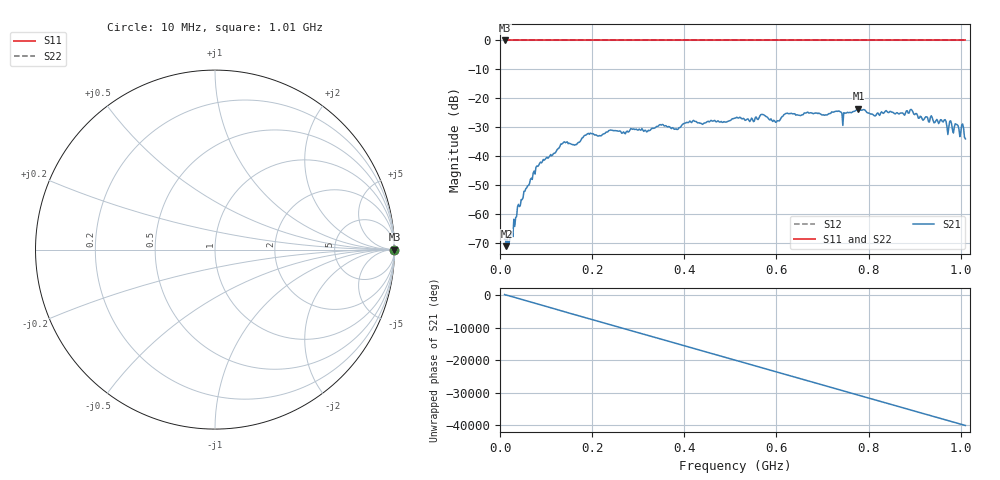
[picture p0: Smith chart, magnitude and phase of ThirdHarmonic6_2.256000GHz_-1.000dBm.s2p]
! 8/17/2025 2:45:05 AM
! C:\ANRITSUVNA\TEMP\TEMP.S2P
! CHANNEL.1
! TR.MEASUREMENT
! RAW.DATA
! RF.CORRECTION.OFF
! AVERAGING.OFF
! IF.BANDWIDTH: 5KHZ
! SWEEPTYPE:  FREQ.SWEEP(Linear)
! Reference Plane Port Info
! PORT:  PORT1  PORT2
! DISTANCE:  0  m  0  m
! TIME:  0  s  0  s
! PHASE.OFFSET:  0  deg.  0  deg.
! LOSS:  0  dB  0  dB
! REF.LOSS:  0  dB  0  dB
! REF.FREQ:  0  Hz  0  Hz
! Power Info
! POWER:  -20  dBm  -20  dBm
! EFF.POWER:  -20  dBm  -20  dBm
! SOURCE.ATTEN:  0  dB  0  dB
! TEST.ATTEN:  0  dB  0  dB
# GHZ S RI R 50.0
! FREQ.GHZ  S11RE  S11IM  S21RE  S21IM  S12RE  S12IM  S22RE  S22IM
!; PortSelection: Port_12
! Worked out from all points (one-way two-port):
!   501 points, 10 MHz to 1.01 GHz, reference 50 ohm
!   highest |S21| = -23.68 dB at 778 MHz (marker M1); lowest = -71.3 dB at 14 MHz (marker M2)
!   lowest |S11| = 0.0 dB at 10 MHz (marker M3)
!   |S11| at or under -10 dB: nowhere
!   |S22| runs from 0.0 to 0.0 dB; largest |S21 - S12| = 1.1
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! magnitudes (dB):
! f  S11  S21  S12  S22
! 10 MHz  0.0  -68.9  0.0  0.0
! 14 MHz  0.0  -71.3  0.0  0.0
! 24 MHz  0.0  -67.0  0.0  0.0
! 42 MHz  0.0  -57.6  0.0  0.0
! 82 MHz  0.0  -43.6  0.0  0.0
! 136 MHz  0.0  -35.6  0.0  0.0
! 178 MHz  0.0  -33.8  0.0  0.0
! 344 MHz  0.0  -29.6  0.0  0.0
! 382 MHz  0.0  -30.6  0.0  0.0
! 416 MHz  0.0  -28.4  0.0  0.0
! 510 MHz  0.0  -26.9  0.0  0.0
! 570 MHz  0.0  -25.6  0.0  0.0
! 602 MHz  0.0  -27.8  0.0  0.0
! 620 MHz  0.0  -25.3  0.0  0.0
! 678 MHz  0.0  -25.2  0.0  0.0
! 748 MHz  0.0  -25.1  0.0  0.0
! 778 MHz  0.0  -23.7  0.0  0.0
! 844 MHz  0.0  -25.0  0.0  0.0
! 892 MHz  0.0  -23.9  0.0  0.0
! 962 MHz  0.0  -28.2  0.0  0.0
! 1.004 GHz  0.0  -28.9  0.0  0.0
! 1.01 GHz  0.0  -34.1  0.0  0.0
